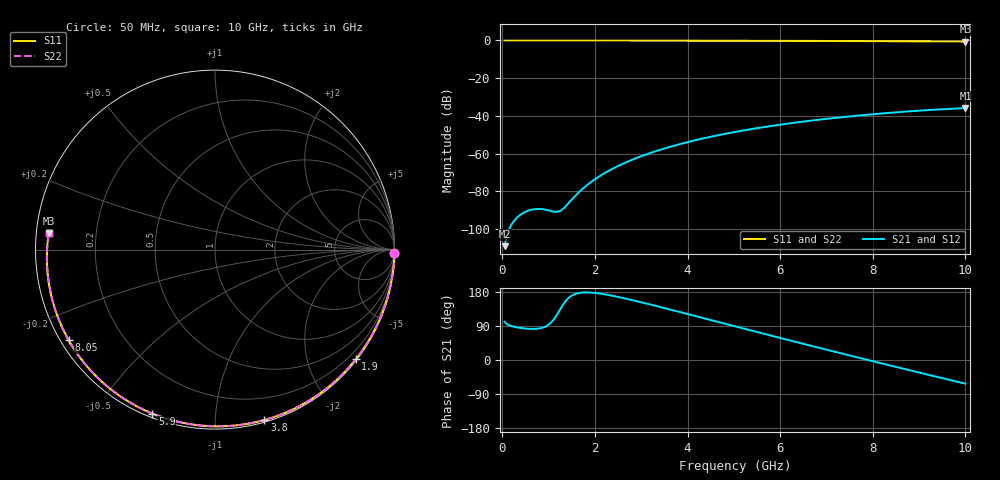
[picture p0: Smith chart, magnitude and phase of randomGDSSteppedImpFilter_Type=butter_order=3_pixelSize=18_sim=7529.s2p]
! freq	dB(S11)	phase(S11)	dB(S12)	phase(S12)
!  dB(S21)	phase(S21)	dB(S22)	phase(S22)
!S-par simulation data
#  GHz  S  DB  R 50
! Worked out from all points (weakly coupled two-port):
!   200 points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, 50 MHz to 10 GHz, reference 50 ohm
!   highest |S21| = -35.84 dB at 10 GHz (marker M1); lowest = -109.0 dB at 50 MHz (marker M2)
!   lowest |S11| = -0.6 dB at 10 GHz (marker M3), VSWR 28.08, Z = 1.78 + j2.43 ohm
!   |S11| at or under -10 dB: nowhere
!   |S22| runs from -0.6 to 0.0 dB; largest |S21 - S12| = 0
!   S11 on the Smith chart (normalised r, x): 50 MHz: open; 1.9 GHz: 0.03, -2.91; 3.8 GHz: 0.02, -1.33; 5.9 GHz: 0.02, -0.69; 8.05 GHz: 0.02, -0.28; 10 GHz: 0.04, +0.05
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0.05  -0.00 -1.0  -108.98 101.2  -108.98 101.2  -0.00 -1.0
0.45  -0.01 -9.1  -91.41 83.7  -91.41 83.7  -0.01 -9.1
0.85  -0.02 -17.2  -89.35 84.7  -89.35 84.7  -0.02 -17.2
1.65  -0.04 -33.1  -80.50 176.7  -80.50 176.7  -0.04 -33.1
1.7  -0.04 -34.0  -79.35 177.7  -79.35 177.7  -0.04 -34.0
1.75  -0.04 -35.0  -78.25 178.2  -78.25 178.2  -0.04 -35.0
1.9  -0.05 -38.0  -75.28 178.1  -75.28 178.1  -0.05 -38.0
2.2  -0.06 -43.8  -70.40 173.5  -70.40 173.5  -0.06 -43.8
2.55  -0.06 -50.5  -65.92 165.1  -65.92 165.1  -0.06 -50.5
2.95  -0.08 -58.1  -61.78 153.8  -61.78 153.8  -0.08 -58.1
3.4  -0.09 -66.5  -57.98 140.1  -57.98 140.1  -0.09 -66.5
3.8  -0.10 -73.8  -55.14 127.7  -55.14 127.7  -0.10 -73.8
4.4  -0.12 -84.7  -51.56 108.7  -51.56 108.7  -0.12 -84.7
5.05  -0.15 -96.2  -48.36 88.1  -48.36 88.1  -0.15 -96.2
5.9  -0.19 -110.9  -44.97 61.3  -44.97 61.3  -0.19 -110.9
6.7  -0.25 -124.7  -42.37 36.4  -42.37 36.4  -0.25 -124.7
7.4  -0.30 -136.8  -40.48 14.9  -40.48 14.9  -0.30 -136.8
8.05  -0.37 -148.2  -38.98 -4.8  -38.98 -4.8  -0.37 -148.2
8.35  -0.40 -153.6  -38.36 -13.8  -38.36 -13.8  -0.40 -153.6
9.2  -0.50 -169.5  -36.88 -39.1  -36.88 -39.1  -0.50 -169.5
9.6  -0.56 -177.4  -36.31 -50.8  -36.31 -50.8  -0.56 -177.4
10  -0.62 174.4  -35.84 -62.4  -35.84 -62.4  -0.62 174.4
